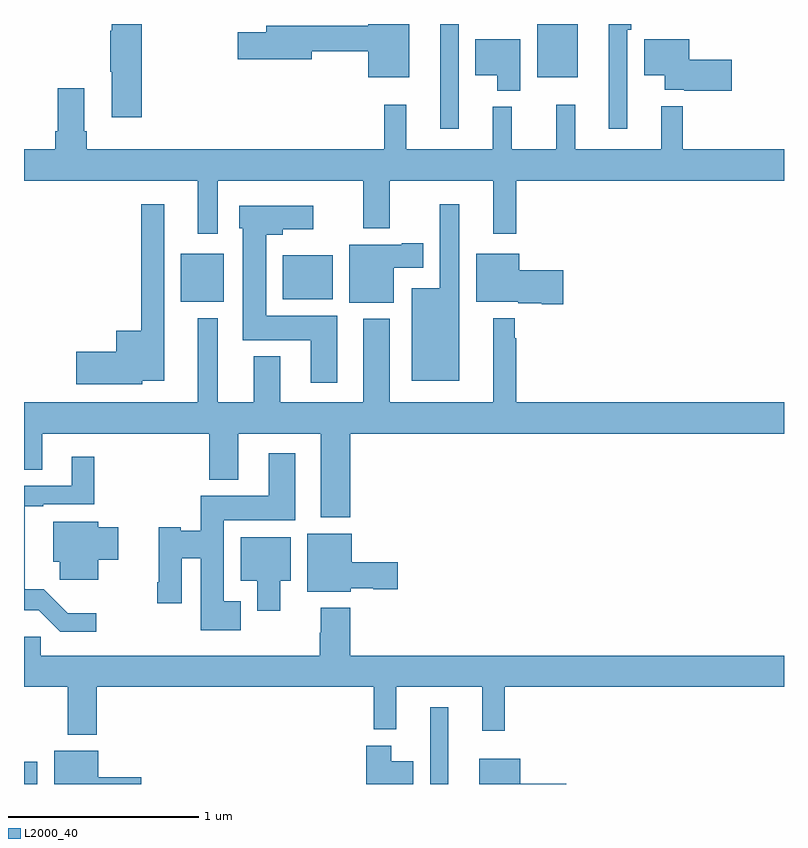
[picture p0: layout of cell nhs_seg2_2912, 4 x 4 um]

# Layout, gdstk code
import gdstk
lib = gdstk.Library(unit=1e-6, precision=1e-09)
def R(c, l, rs):  # rectangles x0, y0, x1, y1
    for r in rs: c.add(gdstk.rectangle(r[:2], r[2:], *l))
def P(c, l, *ps):  # polygons
    for p in ps: c.add(gdstk.Polygon(p, *l))
L2000_40 = (2000, 40)

nhs_seg2_2912 = lib.new_cell('nhs_seg2_2912')
R(nhs_seg2_2912, L2000_40, [(263,637.8,263.071,637.918), (265.137,637.8,265.234,638.203), (263.825,640.337,264.052,640.591), (264.362,640.352,264.625,640.582), (265.19,641.25,265.287,641.8), (265.7,641.519,265.915,641.8)])
P(nhs_seg2_2912, L2000_40, [(263.621,641.8),(263.462,641.8),(263.462,641.765),(263.455,641.765),(263.455,641.548),(263.462,641.548),(263.462,641.31),(263.621,641.31)],
  [(265.027,641.8),(264.812,641.8),(264.812,641.792),(264.275,641.792),(264.275,641.756),(264.126,641.756),(264.126,641.614),(264.514,641.614),(264.514,641.656),(264.812,641.656),(264.812,641.519),(265.027,641.519)],
  [(266.175,641.771),(266.195,641.771),(266.195,641.8),(266.078,641.8),(266.078,641.25),(266.175,641.25)],
  [(265.612,641.719),(265.376,641.719),(265.376,641.531),(265.49,641.531),(265.49,641.45),(265.612,641.45)],
  [(266.725,641.611),(266.5,641.611),(266.5,641.719),(266.264,641.719),(266.264,641.531),(266.372,641.531),(266.372,641.453),(266.476,641.453),(266.476,641.448),(266.725,641.448)],
  [(264.019,640.976),(264.785,640.976),(264.785,640.724),(264.925,640.724),(264.925,640.976),(265.469,640.976),(265.469,640.695),(265.591,640.695),(265.591,640.976),(267,640.976),(267,641.14),(266.466,641.14),(266.466,641.368),(266.354,641.368),(266.354,641.14),(265.901,641.14),(265.901,641.374),(265.801,641.374),(265.801,641.14),(265.566,641.14),(265.566,641.365),(265.466,641.365),(265.466,641.14),(265.013,641.14),(265.013,641.374),(264.895,641.374),(264.895,641.14),(263.33,641.14),(263.33,641.236),(263.317,641.236),(263.317,641.461),(263.177,641.461),(263.177,641.236),(263.165,641.236),(263.165,641.14),(263,641.14),(263,640.976),(263.915,640.976),(263.915,640.695),(264.019,640.695)],
  [(263.622,639.923),(263.737,639.923),(263.737,640.852),(263.616,640.852),(263.616,640.186),(263.486,640.186),(263.486,640.076),(263.274,640.076),(263.274,639.905),(263.622,639.905)],
  [(265.291,640.852),(265.187,640.852),(265.187,640.408),(265.04,640.408),(265.04,639.923),(265.291,639.923)],
  [(264.649,640.264),(264.274,640.264),(264.274,640.691),(264.361,640.691),(264.361,640.721),(264.523,640.721),(264.523,640.843),(264.134,640.843),(264.134,640.725),(264.152,640.725),(264.152,640.136),(264.509,640.136),(264.509,639.912),(264.649,639.912)],
  [(264.946,640.517),(265.102,640.517),(265.102,640.647),(264.989,640.647),(264.989,640.639),(264.713,640.639),(264.713,640.334),(264.946,640.334)],
  [(265.837,640.503),(265.606,640.503),(265.606,640.591),(265.379,640.591),(265.379,640.337),(265.602,640.337),(265.602,640.331),(265.724,640.331),(265.724,640.325),(265.837,640.325)],
  [(263.915,639.808),(263,639.808),(263,639.454),(263.095,639.454),(263.095,639.644),(263.975,639.644),(263.975,639.401),(264.127,639.401),(264.127,639.644),(264.563,639.644),(264.563,639.203),(264.716,639.203),(264.716,639.644),(267,639.644),(267,639.808),(265.591,639.808),(265.591,640.145),(265.583,640.145),(265.583,640.252),(265.469,640.252),(265.469,639.808),(264.925,639.808),(264.925,640.249),(264.785,640.249),(264.785,639.808),(264.349,639.808),(264.349,640.051),(264.209,640.051),(264.209,639.808),(264.019,639.808),(264.019,640.252),(263.915,640.252)],
  [(264.142,638.761),(264.052,638.761),(264.052,639.188),(264.427,639.188),(264.427,639.541),(264.287,639.541),(264.287,639.316),(263.93,639.316),(263.93,639.134),(263.826,639.134),(263.826,639.152),(263.708,639.152),(263.708,638.863),(263.701,638.863),(263.701,638.751),(263.83,638.751),(263.83,638.987),(263.93,638.987),(263.93,638.609),(264.142,638.609)],
  [(263.38,638.698),(263.231,638.698),(263.105,638.824),(263.005,638.824),(263.005,639.261),(263.101,639.261),(263.101,639.273),(263.369,639.273),(263.369,639.523),(263.252,639.523),(263.252,639.369),(263,639.369),(263,638.714),(263.077,638.714),(263.19,638.601),(263.38,638.601)],
  [(263.392,638.981),(263.497,638.981),(263.497,639.152),(263.392,639.152),(263.392,639.181),(263.153,639.181),(263.153,638.969),(263.189,638.969),(263.189,638.876),(263.392,638.876)],
  [(264.72,638.831),(264.837,638.831),(264.837,638.824),(264.967,638.824),(264.967,638.966),(264.724,638.966),(264.724,639.118),(264.491,639.118),(264.491,638.813),(264.72,638.813)],
  [(264.349,638.87),(264.403,638.87),(264.403,639.1),(264.14,639.1),(264.14,638.87),(264.227,638.87),(264.227,638.712),(264.349,638.712)],
  [(263.384,638.312),(264.841,638.312),(264.841,638.087),(264.959,638.087),(264.959,638.312),(265.412,638.312),(265.412,638.079),(265.529,638.079),(265.529,638.312),(267,638.312),(267,638.476),(264.716,638.476),(264.716,638.728),(264.563,638.728),(264.563,638.597),(264.556,638.597),(264.556,638.476),(263.089,638.476),(263.089,638.574),(263,638.574),(263,638.312),(263.231,638.312),(263.231,638.06),(263.384,638.06)],
  [(265.048,637.921),(264.934,637.921),(264.934,638.002),(264.8,638.002),(264.8,637.8),(265.048,637.8)],
  [(263.617,637.836),(263.392,637.836),(263.392,637.975),(263.159,637.975),(263.159,637.8),(263.617,637.8)],
  [(265.855,637.802),(265.612,637.802),(265.612,637.933),(265.397,637.933),(265.397,637.8),(265.855,637.8)])

lib.write_gds('nhs_seg2_2912.gds')
